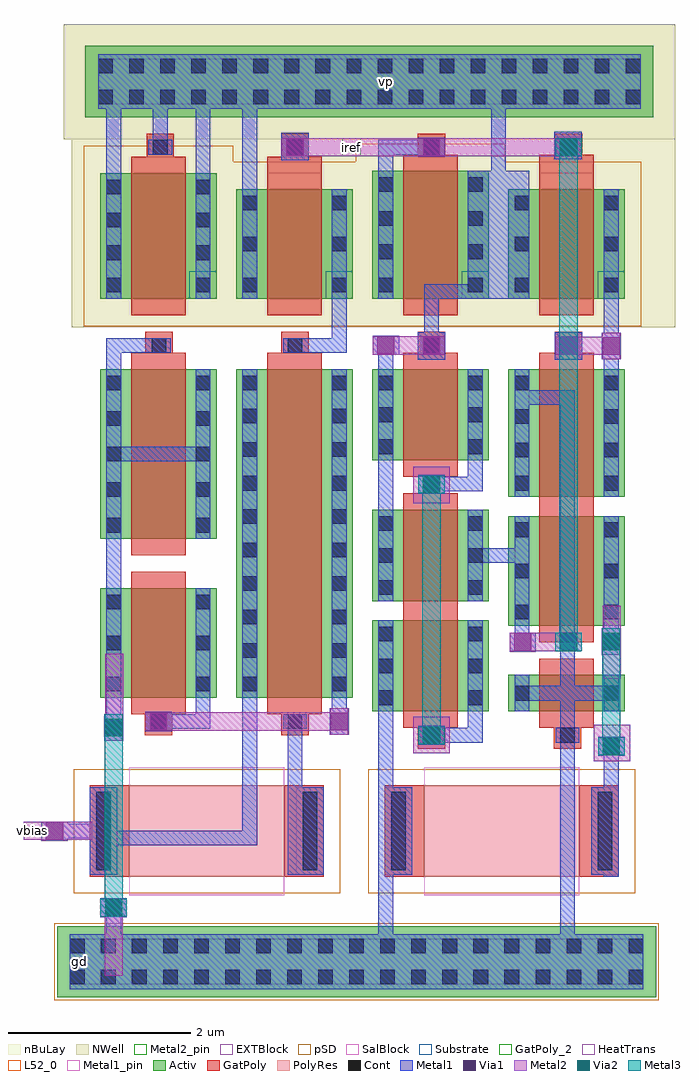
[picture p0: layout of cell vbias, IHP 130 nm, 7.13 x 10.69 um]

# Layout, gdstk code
from math import pi, radians
import gdstk
lib = gdstk.Library(unit=1e-6, precision=1e-09)
def R(c, l, rs):  # rectangles x0, y0, x1, y1
    for r in rs: c.add(gdstk.rectangle(r[:2], r[2:], *l))
def A(c, l, x, y, w, h, nx, ny, dx, dy):  # array of equal rectangles
    R(c, l, [(x+i*dx, y+j*dy, x+i*dx+w, y+j*dy+h) for i in range(nx) for j in range(ny)])
Activ = (1, 0)
GatPoly = (5, 0)
GatPoly_2 = (5, 2)
Cont = (6, 0)
Metal1 = (8, 0)
Metal1_pin = (8, 2)
Metal2 = (10, 0)
Metal2_pin = (10, 2)
pSD = (14, 0)
Via1 = (19, 0)
SalBlock = (28, 0)
Via2 = (29, 0)
Metal3 = (30, 0)
NWell = (31, 0)
nBuLay = (32, 0)
Substrate = (40, 0)
HeatTrans = (51, 0)
L52_0 = (52, 0)
EXTBlock = (111, 0)
PolyRes = (128, 0)

via_19 = lib.new_cell('Via$19')
R(via_19, Metal1, [(-0.145,-0.105,0.145,0.105)])
R(via_19, Metal2, [(-0.145,-0.1,0.145,0.1)])
R(via_19, Via1, [(-0.095,-0.095,0.095,0.095)])

via_18 = lib.new_cell('Via$18')
R(via_18, Metal1, [(-0.145,-0.105,0.145,0.105)])
R(via_18, Metal2, [(-0.145,-0.1,0.145,0.1)])
R(via_18, Via1, [(-0.095,-0.095,0.095,0.095)])

nmos_5 = lib.new_cell('nmos$5')
R(nmos_5, Activ, [(0,0,1.28,3.6), (0,0,0.3,0.3), (0.98,0,1.28,0.3)])
R(nmos_5, GatPoly, [(0.34,-0.18,0.94,3.78)])
R(nmos_5, GatPoly_2, [(0.34,-0.18,0.94,3.78)])
A(nmos_5, Cont, 0.07, 0.07, 0.16, 0.16, 1, 3, 0, 0.365)
A(nmos_5, Cont, 1.05, 0.07, 0.16, 0.16, 1, 3, 0, 0.365)
A(nmos_5, Cont, 0.07, 1.17, 0.16, 0.16, 1, 3, 0, 0.365)
A(nmos_5, Cont, 1.05, 1.17, 0.16, 0.16, 1, 3, 0, 0.365)
A(nmos_5, Cont, 0.07, 2.27, 0.16, 0.16, 1, 3, 0, 0.365)
A(nmos_5, Cont, 1.05, 2.27, 0.16, 0.16, 1, 3, 0, 0.365)
R(nmos_5, Cont, [(0.07,3.37,0.23,3.53), (1.05,3.37,1.21,3.53)])
R(nmos_5, Metal1, [(0.07,0,0.23,3.6), (1.05,0,1.21,3.6)])
R(nmos_5, Metal1_pin, [(0.07,0,0.23,3.6), (1.05,0,1.21,3.6)])
R(nmos_5, HeatTrans, [(0.34,-0.18,0.94,3.78)])
nmos_5.add(gdstk.Label('nmos', (0.64,1.8), layer=63, texttype=0))
nmos_5.add(gdstk.Label('nmos', (0.64,1.8), layer=51, texttype=0))

via_9 = lib.new_cell('Via$9')
R(via_9, Metal1, [(-0.145,-0.105,0.145,0.105)])
R(via_9, Metal2, [(-0.145,-0.1,0.145,0.1)])
R(via_9, Via1, [(-0.095,-0.095,0.095,0.095)])

nmos_3 = lib.new_cell('nmos$3')
R(nmos_3, Activ, [(0,0,1.28,0.4), (0,0,0.3,0.3), (0.98,0,1.28,0.3)])
R(nmos_3, GatPoly, [(0.34,-0.18,0.94,0.58)])
R(nmos_3, GatPoly_2, [(0.34,-0.18,0.94,0.58)])
R(nmos_3, Cont, [(0.07,0.12,0.23,0.28), (1.05,0.12,1.21,0.28)])
R(nmos_3, Metal1, [(0.07,0,0.23,0.4), (1.05,0,1.21,0.4)])
R(nmos_3, Metal1_pin, [(0.07,0,0.23,0.4), (1.05,0,1.21,0.4)])
R(nmos_3, HeatTrans, [(0.34,-0.18,0.94,0.58)])
nmos_3.add(gdstk.Label('nmos', (0.64,0.2), layer=63, texttype=0))
nmos_3.add(gdstk.Label('nmos', (0.64,0.2), layer=51, texttype=0))

via_6 = lib.new_cell('Via$6')
R(via_6, Metal1, [(-0.145,-0.105,0.145,0.105)])
R(via_6, Metal2, [(-0.145,-0.1,0.145,0.1)])
R(via_6, Via1, [(-0.095,-0.095,0.095,0.095)])

ntap = lib.new_cell('ntap')
R(ntap, Activ, [(-0.09,-0.315,0.69,0.465)])
R(ntap, Cont, [(0.05,-0.175,0.21,-0.015), (0.39,-0.175,0.55,-0.015), (0.05,0.165,0.21,0.325), (0.39,0.165,0.55,0.325)])
R(ntap, Metal1, [(0.05,-0.225,0.55,0.375)])
R(ntap, Metal1_pin, [(0.05,-0.175,0.55,0.325)])
R(ntap, NWell, [(-0.33,-0.555,0.93,0.705)])
R(ntap, nBuLay, [(-0.33,-0.555,0.93,0.705)])

pmos = lib.new_cell('pmos')
R(pmos, Activ, [(0,0,1.28,1.2), (0,0,0.3,0.3), (0.98,0,1.28,0.3)])
R(pmos, GatPoly, [(0.34,-0.18,0.94,1.38), (0.34,-0.18,0.94,1.38)])
A(pmos, Cont, 0.07, 0.07, 0.16, 0.16, 1, 3, 0, 0.45)
A(pmos, Cont, 1.05, 0.07, 0.16, 0.16, 1, 3, 0, 0.45)
R(pmos, Metal1, [(0.07,0,0.23,1.2), (0.07,0,0.23,1.2), (1.05,0,1.21,1.2), (1.05,0,1.21,1.2)])
R(pmos, pSD, [(-0.18,-0.3,1.46,1.5)])
R(pmos, NWell, [(-0.31,-0.31,1.59,1.51)])
R(pmos, Substrate, [(0.98,0,1.28,0.3)])
R(pmos, HeatTrans, [(0.34,-0.18,0.94,1.38)])
pmos.add(gdstk.Label('pmos', (0.64,0.6), layer=63, texttype=0))
pmos.add(gdstk.Label('pmos', (0.64,0.6), layer=51, texttype=0))

via_13 = lib.new_cell('Via$13')
R(via_13, Metal1, [(-0.145,-0.105,0.145,0.105)])
R(via_13, Metal2, [(-0.145,-0.1,0.145,0.1)])
R(via_13, Via1, [(-0.095,-0.095,0.095,0.095)])

pmos_1 = lib.new_cell('pmos$1')
R(pmos_1, Activ, [(0,0,1.28,1.4), (0,0,0.3,0.3), (0.98,0,1.28,0.3)])
R(pmos_1, GatPoly, [(0.34,-0.18,0.94,1.58), (0.34,-0.18,0.94,1.58)])
A(pmos_1, Cont, 0.07, 0.07, 0.16, 0.16, 1, 3, 0, 0.365)
A(pmos_1, Cont, 1.05, 0.07, 0.16, 0.16, 1, 3, 0, 0.365)
R(pmos_1, Cont, [(0.07,1.17,0.23,1.33), (1.05,1.17,1.21,1.33)])
R(pmos_1, Metal1, [(0.07,0,0.23,1.4), (0.07,0,0.23,1.4), (1.05,0,1.21,1.4), (1.05,0,1.21,1.4)])
R(pmos_1, pSD, [(-0.18,-0.3,1.46,1.7)])
R(pmos_1, NWell, [(-0.31,-0.31,1.59,1.71)])
R(pmos_1, Substrate, [(0.98,0,1.28,0.3)])
R(pmos_1, HeatTrans, [(0.34,-0.18,0.94,1.58)])
pmos_1.add(gdstk.Label('pmos', (0.64,0.7), layer=63, texttype=0))
pmos_1.add(gdstk.Label('pmos', (0.64,0.7), layer=51, texttype=0))

via_8 = lib.new_cell('Via$8')
R(via_8, Metal1, [(-0.145,-0.105,0.145,0.105)])
R(via_8, Metal2, [(-0.145,-0.1,0.145,0.1)])
R(via_8, Via1, [(-0.095,-0.095,0.095,0.095)])

via = lib.new_cell('Via')
R(via, Metal1, [(-0.145,-0.105,0.145,0.105)])
R(via, Metal2, [(-0.145,-0.1,0.145,0.1)])
R(via, Via1, [(-0.095,-0.095,0.095,0.095)])

rppd_1 = lib.new_cell('rppd$1')
R(rppd_1, GatPoly, [(0,-0.43,1,-0.2), (0,-0.2,1,0), (0,1.7,1,1.9), (0,1.9,1,2.13)])
R(rppd_1, Cont, [(0.07,-0.36,0.93,-0.2), (0.07,1.9,0.93,2.06)])
R(rppd_1, Metal1, [(0.02,-0.43,0.98,-0.13), (0.02,1.83,0.98,2.13)])
R(rppd_1, Metal1_pin, [(0.02,-0.43,0.98,-0.13), (0.02,1.83,0.98,2.13)])
R(rppd_1, pSD, [(-0.18,-0.61,1.18,0), (-0.18,0,1.18,1.7), (-0.18,1.7,1.18,2.31)])
R(rppd_1, SalBlock, [(-0.2,0,1.2,1.7)])
R(rppd_1, L52_0, [(0,0,1,1.7)])
R(rppd_1, EXTBlock, [(-0.18,-0.61,1.18,0), (-0.2,0,1.2,1.7), (-0.18,1.7,1.18,2.31)])
R(rppd_1, PolyRes, [(0,0,1,1.7)])
rppd_1.add(gdstk.Label('rppd r=509.364', (0.5,0.85), layer=63, texttype=0))
rppd_1.add(gdstk.Label('rppd', (0.5,0.85), layer=52, texttype=0))

via_3 = lib.new_cell('Via$3')
R(via_3, Metal1, [(-0.145,-0.105,0.145,0.105)])
R(via_3, Metal2, [(-0.145,-0.1,0.145,0.1)])
R(via_3, Via1, [(-0.095,-0.095,0.095,0.095)])

via_1 = lib.new_cell('Via$1')
R(via_1, GatPoly, [(-0.15,-0.15,0.15,0.15)])
R(via_1, Cont, [(-0.08,-0.08,0.08,0.08)])
R(via_1, Metal1, [(-0.13,-0.08,0.13,0.08)])

via_2 = lib.new_cell('Via$2')
R(via_2, Metal2, [(-0.145,-0.1,0.145,0.1)])
R(via_2, Via2, [(-0.095,-0.095,0.095,0.095)])
R(via_2, Metal3, [(-0.145,-0.1,0.145,0.1)])

nmos_1 = lib.new_cell('nmos$1')
R(nmos_1, Activ, [(0,0,1.28,1), (0,0,0.3,0.3), (0.98,0,1.28,0.3)])
R(nmos_1, GatPoly, [(0.34,-0.18,0.94,1.18)])
R(nmos_1, GatPoly_2, [(0.34,-0.18,0.94,1.18)])
A(nmos_1, Cont, 0.07, 0.07, 0.16, 0.16, 1, 3, 0, 0.35)
A(nmos_1, Cont, 1.05, 0.07, 0.16, 0.16, 1, 3, 0, 0.35)
R(nmos_1, Metal1, [(0.07,0,0.23,1), (1.05,0,1.21,1)])
R(nmos_1, Metal1_pin, [(0.07,0,0.23,1), (1.05,0,1.21,1)])
R(nmos_1, HeatTrans, [(0.34,-0.18,0.94,1.18)])
nmos_1.add(gdstk.Label('nmos', (0.64,0.5), layer=63, texttype=0))
nmos_1.add(gdstk.Label('nmos', (0.64,0.5), layer=51, texttype=0))

ptap = lib.new_cell('ptap')
R(ptap, Activ, [(-0.425,-1.215,0.355,-0.435)])
R(ptap, Cont, [(-0.285,-1.075,-0.125,-0.915), (0.055,-1.075,0.215,-0.915), (-0.285,-0.735,-0.125,-0.575), (0.055,-0.735,0.215,-0.575)])
R(ptap, Metal1, [(-0.285,-1.125,0.215,-0.525)])
R(ptap, Metal1_pin, [(-0.285,-1.075,0.215,-0.575)])
R(ptap, pSD, [(-0.455,-1.245,0.385,-0.405)])

nmos_2 = lib.new_cell('nmos$2')
R(nmos_2, Activ, [(0,0,1.28,1.4), (0,0,0.3,0.3), (0.98,0,1.28,0.3)])
R(nmos_2, GatPoly, [(0.34,-0.18,0.94,1.58)])
R(nmos_2, GatPoly_2, [(0.34,-0.18,0.94,1.58)])
A(nmos_2, Cont, 0.07, 0.07, 0.16, 0.16, 1, 3, 0, 0.365)
A(nmos_2, Cont, 1.05, 0.07, 0.16, 0.16, 1, 3, 0, 0.365)
R(nmos_2, Cont, [(0.07,1.17,0.23,1.33), (1.05,1.17,1.21,1.33)])
R(nmos_2, Metal1, [(0.07,0,0.23,1.4), (1.05,0,1.21,1.4)])
R(nmos_2, Metal1_pin, [(0.07,0,0.23,1.4), (1.05,0,1.21,1.4)])
R(nmos_2, HeatTrans, [(0.34,-0.18,0.94,1.58)])
nmos_2.add(gdstk.Label('nmos', (0.64,0.7), layer=63, texttype=0))
nmos_2.add(gdstk.Label('nmos', (0.64,0.7), layer=51, texttype=0))

via_5 = lib.new_cell('Via$5')
R(via_5, Metal2, [(-0.145,-0.1,0.145,0.1)])
R(via_5, Via2, [(-0.095,-0.095,0.095,0.095)])
R(via_5, Metal3, [(-0.145,-0.1,0.145,0.1)])

via_7 = lib.new_cell('Via$7')
R(via_7, Metal1, [(-0.145,-0.105,0.145,0.105)])
R(via_7, Metal2, [(-0.145,-0.1,0.145,0.1)])
R(via_7, Via1, [(-0.095,-0.095,0.095,0.095)])

via_10 = lib.new_cell('Via$10')
R(via_10, Metal1, [(-0.145,-0.105,0.145,0.105)])
R(via_10, Metal2, [(-0.145,-0.1,0.145,0.1)])
R(via_10, Via1, [(-0.095,-0.095,0.095,0.095)])

via_4 = lib.new_cell('Via$4')
R(via_4, Metal1, [(-0.145,-0.105,0.145,0.105)])
R(via_4, Metal2, [(-0.145,-0.1,0.145,0.1)])
R(via_4, Via1, [(-0.095,-0.095,0.095,0.095)])

nmos = lib.new_cell('nmos')
R(nmos, Activ, [(0,0,1.28,1.2), (0,0,0.3,0.3), (0.98,0,1.28,0.3)])
R(nmos, GatPoly, [(0.34,-0.18,0.94,1.38)])
R(nmos, GatPoly_2, [(0.34,-0.18,0.94,1.38)])
A(nmos, Cont, 0.07, 0.07, 0.16, 0.16, 1, 3, 0, 0.45)
A(nmos, Cont, 1.05, 0.07, 0.16, 0.16, 1, 3, 0, 0.45)
R(nmos, Metal1, [(0.07,0,0.23,1.2), (1.05,0,1.21,1.2)])
R(nmos, Metal1_pin, [(0.07,0,0.23,1.2), (1.05,0,1.21,1.2)])
R(nmos, HeatTrans, [(0.34,-0.18,0.94,1.38)])
nmos.add(gdstk.Label('nmos', (0.64,0.6), layer=63, texttype=0))
nmos.add(gdstk.Label('nmos', (0.64,0.6), layer=51, texttype=0))

curr_source = lib.new_cell('curr_source')
R(curr_source, GatPoly, [(3.695,6.615,4.295,6.815)])
R(curr_source, Metal1, [(1.935,-2.325,2.095,-1.725), (2.365,4.57,2.665,4.87), (3.865,4.57,4.165,4.87), (2.915,5.235,3.585,6.635), (3.86,6.765,4.16,7.065)])
R(curr_source, Metal1_pin, [(1.955,-2.125,2.155,-1.925), (1.925,7.545,2.055,7.675)])
R(curr_source, Metal2, [(4.29,0.17,4.69,0.57), (2.315,0.255,2.715,0.655), (4.39,1.075,4.59,1.875), (2.315,2.995,2.715,3.395)])
R(curr_source, Metal2_pin, [(1.54,6.795,1.74,6.995)])
R(curr_source, NWell, [(1.555,4.925,5.185,8.245)])
curr_source.add(gdstk.FlexPath([(2.515,0.455),(2.515,0.455)], 0.16, ends="flush", simple_path=True, layer=8, datatype=0))  # Metal1
curr_source.add(gdstk.FlexPath([(4.485,4.72),(4.485,4.72)], 0.16, ends="flush", simple_path=True, layer=8, datatype=0))  # Metal1
curr_source.add(gdstk.FlexPath([(2.515,4.725),(2.515,4.725)], 0.16, ends="flush", simple_path=True, layer=8, datatype=0))  # Metal1
curr_source.add(gdstk.FlexPath([(4.015,6.895),(4.015,6.895)], 0.16, ends="flush", simple_path=True, layer=8, datatype=0))  # Metal1
curr_source.add(gdstk.FlexPath([(2.995,0.715),(2.995,0.375)], 0.16, ends="flush", simple_path=True, layer=8, datatype=0))  # Metal1
curr_source.add(gdstk.FlexPath([(2.645,0.455),(3.075,0.455)], 0.16, ends="flush", simple_path=True, layer=8, datatype=0))  # Metal1
curr_source.add(gdstk.FlexPath([(2.015,4.465),(2.015,4.62)], 0.16, ends="flush", simple_path=True, layer=8, datatype=0))  # Metal1
curr_source.add(gdstk.FlexPath([(4.005,-0.815),(4.005,-1.775)], 0.16, ends="flush", simple_path=True, layer=8, datatype=0))  # Metal1
curr_source.add(gdstk.FlexPath([(2.015,2.925),(2.015,3.465)], 0.16, ends="flush", simple_path=True, layer=8, datatype=0))  # Metal1
curr_source.add(gdstk.FlexPath([(3.25,6.635),(3.25,7.315)], 0.16, ends="flush", simple_path=True, layer=8, datatype=0))  # Metal1
curr_source.add(gdstk.FlexPath([(2.515,3.205),(3.075,3.205)], 0.16, ends="flush", simple_path=True, layer=8, datatype=0))  # Metal1
curr_source.add(gdstk.FlexPath([(2.995,3.465),(2.995,3.285)], 0.16, ends="flush", simple_path=True, layer=8, datatype=0))  # Metal1
curr_source.add(gdstk.FlexPath([(3.995,0.915),(4.405,0.915)], 0.16, ends="flush", simple_path=True, layer=8, datatype=0))  # Metal1
curr_source.add(gdstk.FlexPath([(3.995,0.915),(3.585,0.915),(3.585,0.915)], 0.16, ends="flush", simple_path=True, layer=8, datatype=0))  # Metal1
curr_source.add(gdstk.FlexPath([(4.485,0.335),(4.485,-1.095)], 0.16, ends="flush", simple_path=True, layer=8, datatype=0))  # Metal1
curr_source.add(gdstk.FlexPath([(3.505,1.655),(3.505,1.575)], 0.16, ends="flush", simple_path=True, layer=8, datatype=0))  # Metal1
curr_source.add(gdstk.FlexPath([(2.915,5.315),(2.435,5.315)], 0.16, ends="flush", simple_path=True, layer=8, datatype=0))  # Metal1
curr_source.add(gdstk.FlexPath([(2.995,3.34),(2.995,3.125)], 0.16, ends="flush", simple_path=True, layer=8, datatype=0))  # Metal1
curr_source.add(gdstk.FlexPath([(2.015,0.715),(2.015,-1.725),(2.015,-1.725)], 0.16, ends="flush", simple_path=True, layer=8, datatype=0))  # Metal1
curr_source.add(gdstk.FlexPath([(3.575,4.155),(4.005,4.155),(4.005,-0.965)], 0.16, ends="flush", simple_path=True, layer=8, datatype=0))  # Metal1
curr_source.add(gdstk.FlexPath([(4.485,1.655),(4.485,1.48)], 0.16, ends="flush", simple_path=True, layer=8, datatype=0))  # Metal1
curr_source.add(gdstk.FlexPath([(2.515,4.805),(2.515,5.2)], 0.16, ends="flush", simple_path=True, layer=8, datatype=0))  # Metal1
curr_source.add(gdstk.FlexPath([(3.075,2.425),(3.425,2.425)], 0.16, ends="flush", simple_path=True, layer=8, datatype=0))  # Metal1
curr_source.add(gdstk.FlexPath([(4.485,4.49),(4.485,4.465)], 0.16, ends="flush", simple_path=True, layer=8, datatype=0))  # Metal1
curr_source.add(gdstk.FlexPath([(4.485,5.235),(4.485,4.48)], 0.16, ends="flush", simple_path=True, layer=8, datatype=0))  # Metal1
curr_source.add(gdstk.FlexPath([(2.515,5.15),(2.515,5.395)], 0.16, ends="flush", simple_path=True, layer=8, datatype=0))  # Metal1
curr_source.add(gdstk.FlexPath([(2.365,6.895),(2.515,6.895)], 0.16, ends="flush", simple_path=True, layer=8, datatype=0))  # Metal1
curr_source.add(gdstk.FlexPath([(2.015,6.635),(2.015,6.885),(2.015,6.89),(2.015,6.895),(2.385,6.895),(2.385,6.895),(2.385,6.895)], 0.16, ends="flush", simple_path=True, layer=8, datatype=0))  # Metal1
curr_source.add(gdstk.FlexPath([(4.485,0.335),(4.485,0.335)], 0.2, ends="flush", simple_path=True, layer=10, datatype=0))  # Metal2
curr_source.add(gdstk.FlexPath([(2.515,0.455),(2.515,0.455)], 0.2, ends="flush", simple_path=True, layer=10, datatype=0))  # Metal2
curr_source.add(gdstk.FlexPath([(4.485,1.48),(4.485,1.48)], 0.2, ends="flush", simple_path=True, layer=10, datatype=0))  # Metal2
curr_source.add(gdstk.FlexPath([(2.515,3.205),(2.515,3.205)], 0.2, ends="flush", simple_path=True, layer=10, datatype=0))  # Metal2
curr_source.add(gdstk.FlexPath([(4.015,1.475),(3.65,1.475)], 0.2, ends="flush", simple_path=True, layer=10, datatype=0))  # Metal2
curr_source.add(gdstk.FlexPath([(2.515,6.895),(1.54,6.895)], 0.2, ends="flush", simple_path=True, layer=10, datatype=0))  # Metal2
curr_source.add(gdstk.FlexPath([(2.515,6.895),(4.015,6.895)], 0.2, ends="flush", simple_path=True, layer=10, datatype=0))  # Metal2
curr_source.add(gdstk.FlexPath([(2.515,4.725),(1.87,4.725)], 0.2, ends="flush", simple_path=True, layer=10, datatype=0))  # Metal2
curr_source.add(gdstk.FlexPath([(4.015,4.72),(4.485,4.72)], 0.2, ends="flush", simple_path=True, layer=10, datatype=0))  # Metal2
curr_source.add(gdstk.FlexPath([(3.695,1.475),(3.515,1.475)], 0.16, ends="flush", simple_path=True, layer=10, datatype=0))  # Metal2
curr_source.add(gdstk.FlexPath([(4.015,6.895),(4.015,6.895)], 0.16, ends="flush", simple_path=True, layer=10, datatype=0))  # Metal2
curr_source.add(gdstk.FlexPath([(4.485,1.48),(4.485,0.335)], 0.2, ends="flush", simple_path=True, layer=30, datatype=0))  # Metal3
curr_source.add(gdstk.FlexPath([(2.515,2.96),(2.515,3.18)], 0.2, ends="flush", simple_path=True, layer=30, datatype=0))  # Metal3
curr_source.add(gdstk.FlexPath([(4.015,1.58),(4.015,1.475)], 0.2, ends="flush", simple_path=True, layer=30, datatype=0))  # Metal3
curr_source.add(gdstk.FlexPath([(2.515,0.455),(2.515,2.99)], 0.2, ends="flush", simple_path=True, layer=30, datatype=0))  # Metal3
curr_source.add(gdstk.FlexPath([(2.515,3.14),(2.515,3.205)], 0.2, ends="flush", simple_path=True, layer=30, datatype=0))  # Metal3
curr_source.add(gdstk.FlexPath([(4.015,6.895),(4.015,1.58)], 0.2, ends="flush", simple_path=True, layer=30, datatype=0))  # Metal3
curr_source.add(gdstk.Reference(via_9, (4.015,4.72)))
curr_source.add(gdstk.Reference(nmos_3, (3.355,0.715)))
curr_source.add(gdstk.Reference(via_6, (2.015,4.725)))
curr_source.add(gdstk.Reference(ntap, (1.875,7.54)))
curr_source.add(gdstk.Reference(ntap, (2.215,7.54)))
curr_source.add(gdstk.Reference(ntap, (2.555,7.54)))
curr_source.add(gdstk.Reference(ntap, (2.895,7.54)))
curr_source.add(gdstk.Reference(ntap, (3.235,7.54)))
curr_source.add(gdstk.Reference(ntap, (3.575,7.54)))
curr_source.add(gdstk.Reference(ntap, (3.915,7.54)))
curr_source.add(gdstk.Reference(ntap, (4.255,7.54)))
curr_source.add(gdstk.Reference(pmos, (3.355,5.235)))
curr_source.add(gdstk.Reference(via_13, (4.485,1.48), rotation=3*pi/2))
curr_source.add(gdstk.Reference(pmos_1, (1.865,5.235)))
curr_source.add(gdstk.Reference(via_8, (2.515,3.205)))
curr_source.add(gdstk.Reference(via, (2.515,6.895)))
curr_source.add(gdstk.Reference(rppd_1, (2.435,-0.095), rotation=3*pi/2))
curr_source.add(gdstk.Reference(via_13, (4.485,0.335)))
curr_source.add(gdstk.Reference(via_3, (4.015,6.895)))
curr_source.add(gdstk.Reference(via_1, (2.515,0.455)))
curr_source.add(gdstk.Reference(via_1, (4.005,0.455)))
curr_source.add(gdstk.Reference(via_1, (2.515,4.725)))
curr_source.add(gdstk.Reference(via_1, (4.015,4.725)))
curr_source.add(gdstk.Reference(via_1, (2.515,6.895)))
curr_source.add(gdstk.Reference(via_1, (4.015,6.895)))
curr_source.add(gdstk.Reference(via_2, (4.015,1.475)))
curr_source.add(gdstk.Reference(nmos_1, (1.865,0.715)))
curr_source.add(gdstk.Reference(nmos_1, (1.865,1.925)))
curr_source.add(gdstk.Reference(nmos_1, (1.865,3.465)))
curr_source.add(gdstk.Reference(ptap, (2.24,-1.2)))
curr_source.add(gdstk.Reference(ptap, (2.58,-1.2)))
curr_source.add(gdstk.Reference(ptap, (2.92,-1.2)))
curr_source.add(gdstk.Reference(ptap, (3.26,-1.2)))
curr_source.add(gdstk.Reference(ptap, (3.6,-1.2)))
curr_source.add(gdstk.Reference(ptap, (3.94,-1.2)))
curr_source.add(gdstk.Reference(ptap, (4.28,-1.2)))
curr_source.add(gdstk.Reference(ptap, (4.62,-1.2)))
curr_source.add(gdstk.Reference(nmos_2, (3.355,3.065)))
curr_source.add(gdstk.Reference(via_5, (4.485,1.48), rotation=3*pi/2))
curr_source.add(gdstk.Reference(via_7, (4.485,4.72), rotation=3*pi/2))
curr_source.add(gdstk.Reference(via_7, (2.515,4.725)))
curr_source.add(gdstk.Reference(via_5, (4.485,0.335)))
curr_source.add(gdstk.Reference(via_5, (2.515,0.455)))
curr_source.add(gdstk.Reference(via_5, (2.515,3.205)))
curr_source.add(gdstk.Reference(via_5, (4.015,6.895)))
curr_source.add(gdstk.Reference(via_10, (2.515,0.455)))
curr_source.add(gdstk.Reference(via_4, (3.515,1.475)))
curr_source.add(gdstk.Reference(nmos, (3.355,1.655)))
curr_source.add(gdstk.Label('gd', (2.055,-2.025), layer=8, texttype=25))
curr_source.add(gdstk.Label('vp', (1.99,7.61), layer=8, texttype=25))
curr_source.add(gdstk.Label('iref', (1.567,6.897), layer=10, texttype=25))

nmos_4 = lib.new_cell('nmos$4')
R(nmos_4, Activ, [(0,0,1.28,1.2), (0,0,0.3,0.3), (0.98,0,1.28,0.3)])
R(nmos_4, GatPoly, [(0.34,-0.18,0.94,1.38)])
R(nmos_4, GatPoly_2, [(0.34,-0.18,0.94,1.38)])
A(nmos_4, Cont, 0.07, 0.07, 0.16, 0.16, 1, 3, 0, 0.45)
A(nmos_4, Cont, 1.05, 0.07, 0.16, 0.16, 1, 3, 0, 0.45)
R(nmos_4, Metal1, [(0.07,0,0.23,1.2), (1.05,0,1.21,1.2)])
R(nmos_4, Metal1_pin, [(0.07,0,0.23,1.2), (1.05,0,1.21,1.2)])
R(nmos_4, HeatTrans, [(0.34,-0.18,0.94,1.38)])
nmos_4.add(gdstk.Label('nmos', (0.64,0.6), layer=63, texttype=0))
nmos_4.add(gdstk.Label('nmos', (0.64,0.6), layer=51, texttype=0))

rppd_2 = lib.new_cell('rppd$2')
R(rppd_2, GatPoly, [(0,-0.43,1,-0.2), (0,-0.2,1,0), (0,1.7,1,1.9), (0,1.9,1,2.13)])
R(rppd_2, Cont, [(0.07,-0.36,0.93,-0.2), (0.07,1.9,0.93,2.06)])
R(rppd_2, Metal1, [(0.02,-0.43,0.98,-0.13), (0.02,1.83,0.98,2.13)])
R(rppd_2, Metal1_pin, [(0.02,-0.43,0.98,-0.13), (0.02,1.83,0.98,2.13)])
R(rppd_2, pSD, [(-0.18,-0.61,1.18,0), (-0.18,0,1.18,1.7), (-0.18,1.7,1.18,2.31)])
R(rppd_2, SalBlock, [(-0.2,0,1.2,1.7)])
R(rppd_2, L52_0, [(0,0,1,1.7)])
R(rppd_2, EXTBlock, [(-0.18,-0.61,1.18,0), (-0.2,0,1.2,1.7), (-0.18,1.7,1.18,2.31)])
R(rppd_2, PolyRes, [(0,0,1,1.7)])
rppd_2.add(gdstk.Label('rppd r=509.364', (0.5,0.85), layer=63, texttype=0))
rppd_2.add(gdstk.Label('rppd', (0.5,0.85), layer=52, texttype=0))

ntap_1 = lib.new_cell('ntap$1')
R(ntap_1, Activ, [(-0.09,-0.315,0.69,0.465)])
R(ntap_1, Cont, [(0.05,-0.175,0.21,-0.015), (0.39,-0.175,0.55,-0.015), (0.05,0.165,0.21,0.325), (0.39,0.165,0.55,0.325)])
R(ntap_1, Metal1, [(0.05,-0.225,0.55,0.375)])
R(ntap_1, Metal1_pin, [(0.05,-0.175,0.55,0.325)])
R(ntap_1, NWell, [(-0.33,-0.555,0.93,0.705)])
R(ntap_1, nBuLay, [(-0.33,-0.555,0.93,0.705)])

pmos_2 = lib.new_cell('pmos$2')
R(pmos_2, Activ, [(0,0,1.28,1.2), (0,0,0.3,0.3), (0.98,0,1.28,0.3)])
R(pmos_2, GatPoly, [(0.34,-0.18,0.94,1.38), (0.34,-0.18,0.94,1.38)])
A(pmos_2, Cont, 0.07, 0.07, 0.16, 0.16, 1, 3, 0, 0.45)
A(pmos_2, Cont, 1.05, 0.07, 0.16, 0.16, 1, 3, 0, 0.45)
R(pmos_2, Metal1, [(0.07,0,0.23,1.2), (0.07,0,0.23,1.2), (1.05,0,1.21,1.2), (1.05,0,1.21,1.2)])
R(pmos_2, pSD, [(-0.18,-0.3,1.46,1.5)])
R(pmos_2, NWell, [(-0.31,-0.31,1.59,1.51)])
R(pmos_2, Substrate, [(0.98,0,1.28,0.3)])
R(pmos_2, HeatTrans, [(0.34,-0.18,0.94,1.38)])
pmos_2.add(gdstk.Label('pmos', (0.64,0.6), layer=63, texttype=0))
pmos_2.add(gdstk.Label('pmos', (0.64,0.6), layer=51, texttype=0))

pmos_3 = lib.new_cell('pmos$3')
R(pmos_3, Activ, [(0,0,1.28,1.375), (0,0,0.3,0.3), (0.98,0,1.28,0.3)])
R(pmos_3, GatPoly, [(0.34,-0.18,0.94,1.555), (0.34,-0.18,0.94,1.555)])
A(pmos_3, Cont, 0.07, 0.425, 0.16, 0.16, 1, 3, 0, 0.36)
A(pmos_3, Cont, 1.05, 0.425, 0.16, 0.16, 1, 3, 0, 0.36)
R(pmos_3, Cont, [(0.07,0.07,0.23,0.23), (1.05,0.07,1.21,0.23)])
R(pmos_3, Metal1, [(0.07,0,0.23,1.375), (0.07,0,0.23,1.375), (1.05,0,1.21,1.375), (1.05,0,1.21,1.375)])
R(pmos_3, pSD, [(-0.18,-0.3,1.46,1.675)])
R(pmos_3, NWell, [(-0.31,-0.31,1.59,1.685)])
R(pmos_3, Substrate, [(0.98,0,1.28,0.3)])
R(pmos_3, HeatTrans, [(0.34,-0.18,0.94,1.555)])
pmos_3.add(gdstk.Label('pmos', (0.64,0.688), layer=63, texttype=0))
pmos_3.add(gdstk.Label('pmos', (0.64,0.688), layer=51, texttype=0))

ptap_1 = lib.new_cell('ptap$1')
R(ptap_1, Activ, [(-0.425,-1.215,0.355,-0.435)])
R(ptap_1, Cont, [(-0.285,-1.075,-0.125,-0.915), (0.055,-1.075,0.215,-0.915), (-0.285,-0.735,-0.125,-0.575), (0.055,-0.735,0.215,-0.575)])
R(ptap_1, Metal1, [(-0.285,-1.125,0.215,-0.525)])
R(ptap_1, Metal1_pin, [(-0.285,-1.075,0.215,-0.575)])
R(ptap_1, pSD, [(-0.455,-1.245,0.385,-0.405)])

via_15 = lib.new_cell('Via$15')
R(via_15, Metal1, [(-0.145,-0.105,0.145,0.105)])
R(via_15, Metal2, [(-0.145,-0.1,0.145,0.1)])
R(via_15, Via1, [(-0.095,-0.095,0.095,0.095)])

nmos_6 = lib.new_cell('nmos$6')
R(nmos_6, Activ, [(0,0,1.28,1.86), (0,0,0.3,0.3), (0.98,0,1.28,0.3)])
R(nmos_6, GatPoly, [(0.34,-0.18,0.94,2.04)])
R(nmos_6, GatPoly_2, [(0.34,-0.18,0.94,2.04)])
A(nmos_6, Cont, 0.07, 0.07, 0.16, 0.16, 1, 5, 0, 0.39)
A(nmos_6, Cont, 1.05, 0.07, 0.16, 0.16, 1, 5, 0, 0.39)
R(nmos_6, Metal1, [(0.07,0,0.23,1.86), (1.05,0,1.21,1.86)])
R(nmos_6, Metal1_pin, [(0.07,0,0.23,1.86), (1.05,0,1.21,1.86)])
R(nmos_6, HeatTrans, [(0.34,-0.18,0.94,2.04)])
nmos_6.add(gdstk.Label('nmos', (0.64,0.93), layer=63, texttype=0))
nmos_6.add(gdstk.Label('nmos', (0.64,0.93), layer=51, texttype=0))

via_14 = lib.new_cell('Via$14')
R(via_14, Metal1, [(-0.145,-0.105,0.145,0.105)])
R(via_14, Metal2, [(-0.145,-0.1,0.145,0.1)])
R(via_14, Via1, [(-0.095,-0.095,0.095,0.095)])

via_12 = lib.new_cell('Via$12')
R(via_12, Metal1, [(-0.145,-0.105,0.145,0.105)])
R(via_12, Metal2, [(-0.145,-0.1,0.145,0.1)])
R(via_12, Via1, [(-0.095,-0.095,0.095,0.095)])

via_11 = lib.new_cell('Via$11')
R(via_11, GatPoly, [(-0.15,-0.15,0.15,0.15)])
R(via_11, Cont, [(-0.08,-0.08,0.08,0.08)])
R(via_11, Metal1, [(-0.13,-0.08,0.13,0.08)])

via_16 = lib.new_cell('Via$16')
R(via_16, Metal2, [(-0.145,-0.1,0.145,0.1)])
R(via_16, Via2, [(-0.095,-0.095,0.095,0.095)])
R(via_16, Metal3, [(-0.145,-0.1,0.145,0.1)])

vbias = lib.new_cell('vbias')
R(vbias, GatPoly, [(9.015,17.53,9.615,17.705)])
R(vbias, Metal1, [(9.24,9.84,9.635,10.8), (9.17,17.67,9.47,17.97)])
R(vbias, Metal1_pin, [(6.855,8.79,7.055,8.99), (10.225,18.43,10.425,18.63)])
R(vbias, Metal2, [(7.235,8.735,7.435,9.485), (6.35,10.225,7.1,10.425), (7.24,11.51,7.44,12.26)])
R(vbias, Metal2_pin, [(6.35,10.225,6.55,10.425), (9.84,17.71,10.04,17.91)])
R(vbias, NWell, [(6.875,15.84,8.775,19.16), (8.365,15.84,11.155,19.16)])
vbias.add(gdstk.FlexPath([(7.335,11.455),(7.335,11.78),(7.335,11.78)], 0.16, ends="flush", simple_path=True, layer=8, datatype=0))  # Metal1
vbias.add(gdstk.FlexPath([(8.315,11.78),(8.315,11.44)], 0.16, ends="flush", simple_path=True, layer=8, datatype=0))  # Metal1
vbias.add(gdstk.FlexPath([(7.825,11.52),(8.395,11.52)], 0.16, ends="flush", simple_path=True, layer=8, datatype=0))  # Metal1
vbias.add(gdstk.FlexPath([(7.335,9.48),(7.335,9.19)], 0.16, ends="flush", simple_path=True, layer=8, datatype=0))  # Metal1
vbias.add(gdstk.FlexPath([(7.845,17.81),(7.845,18.23)], 0.16, ends="flush", simple_path=True, layer=8, datatype=0))  # Metal1
vbias.add(gdstk.FlexPath([(7.335,17.525),(7.335,18.23)], 0.16, ends="flush", simple_path=True, layer=8, datatype=0))  # Metal1
vbias.add(gdstk.FlexPath([(8.315,17.525),(8.315,18.23),(8.315,18.23)], 0.16, ends="flush", simple_path=True, layer=8, datatype=0))  # Metal1
vbias.add(gdstk.FlexPath([(8.235,14.45),(7.415,14.45)], 0.16, ends="flush", simple_path=True, layer=8, datatype=0))  # Metal1
vbias.add(gdstk.FlexPath([(7.075,10.32),(6.685,10.32)], 0.16, ends="flush", simple_path=True, layer=8, datatype=0))  # Metal1
vbias.add(gdstk.FlexPath([(7.83,15.64),(7.255,15.64)], 0.16, ends="flush", simple_path=True, layer=8, datatype=0))  # Metal1
vbias.add(gdstk.FlexPath([(7.335,15.38),(7.335,15.72)], 0.16, ends="flush", simple_path=True, layer=8, datatype=0))  # Metal1
vbias.add(gdstk.FlexPath([(9.32,11.52),(9.32,9.84)], 0.16, ends="flush", simple_path=True, layer=8, datatype=0))  # Metal1
vbias.add(gdstk.FlexPath([(7.825,11.52),(7.825,11.52)], 0.16, ends="flush", simple_path=True, layer=8, datatype=0))  # Metal1
vbias.add(gdstk.FlexPath([(9.32,17.81),(9.32,17.81)], 0.16, ends="flush", simple_path=True, layer=8, datatype=0))  # Metal1
vbias.add(gdstk.FlexPath([(9.45,15.64),(9.885,15.64)], 0.16, ends="flush", simple_path=True, layer=8, datatype=0))  # Metal1
vbias.add(gdstk.FlexPath([(8.825,11.78),(8.825,10.245),(7.375,10.245)], 0.16, ends="flush", simple_path=True, layer=8, datatype=0))  # Metal1
vbias.add(gdstk.FlexPath([(9.805,16.15),(9.805,15.56)], 0.16, ends="flush", simple_path=True, layer=8, datatype=0))  # Metal1
vbias.add(gdstk.FlexPath([(7.335,13.52),(7.335,12.98)], 0.16, ends="flush", simple_path=True, layer=8, datatype=0))  # Metal1
vbias.add(gdstk.FlexPath([(8.825,17.35),(8.825,18.23)], 0.16, ends="flush", simple_path=True, layer=8, datatype=0))  # Metal1
vbias.add(gdstk.FlexPath([(9.805,11.78),(9.805,11.615)], 0.16, ends="flush", simple_path=True, layer=8, datatype=0))  # Metal1
vbias.add(gdstk.FlexPath([(7.335,9.48),(7.335,9.48)], 0.2, ends="flush", simple_path=True, layer=10, datatype=0))  # Metal2
vbias.add(gdstk.FlexPath([(7.335,11.455),(7.335,11.455)], 0.2, ends="flush", simple_path=True, layer=10, datatype=0))  # Metal2
vbias.add(gdstk.FlexPath([(7.905,11.52),(7.825,11.52)], 0.2, ends="flush", simple_path=True, layer=10, datatype=0))  # Metal2
vbias.add(gdstk.FlexPath([(7.885,11.52),(9.805,11.52)], 0.2, ends="flush", simple_path=True, layer=10, datatype=0))  # Metal2
vbias.add(gdstk.FlexPath([(9.94,17.81),(9.32,17.81)], 0.2, ends="flush", simple_path=True, layer=10, datatype=0))  # Metal2
vbias.add(gdstk.FlexPath([(7.335,11.475),(7.335,9.48)], 0.2, ends="flush", simple_path=True, layer=30, datatype=0))  # Metal3
vbias.add(gdstk.Reference(via_19, (6.685,10.32)))
vbias.add(gdstk.Reference(via_18, (7.335,9.48)))
vbias.add(gdstk.Reference(nmos_5, (9.955,15.38), rotation=pi))
vbias.add(gdstk.Reference(curr_source, (8.3,10.915)))
vbias.add(gdstk.Reference(nmos_4, (7.185,11.78)))
vbias.add(gdstk.Reference(rppd_2, (7.505,10.82), rotation=3*pi/2))
vbias.add(gdstk.Reference(ntap_1, (7.115,18.455)))
vbias.add(gdstk.Reference(ntap_1, (7.455,18.455)))
vbias.add(gdstk.Reference(ntap_1, (7.795,18.455)))
vbias.add(gdstk.Reference(ntap_1, (8.135,18.455)))
vbias.add(gdstk.Reference(ntap_1, (8.475,18.455)))
vbias.add(gdstk.Reference(ntap_1, (8.815,18.455)))
vbias.add(gdstk.Reference(ntap_1, (9.155,18.455)))
vbias.add(gdstk.Reference(ntap_1, (9.495,18.455)))
vbias.add(gdstk.Reference(ntap_1, (9.835,18.455)))
vbias.add(gdstk.Reference(pmos_2, (8.675,16.15)))
vbias.add(gdstk.Reference(pmos_3, (7.185,16.15)))
vbias.add(gdstk.Reference(ptap_1, (7.14,9.715)))
vbias.add(gdstk.Reference(ptap_1, (7.48,9.715)))
vbias.add(gdstk.Reference(ptap_1, (7.82,9.715)))
vbias.add(gdstk.Reference(ptap_1, (8.16,9.715)))
vbias.add(gdstk.Reference(ptap_1, (8.5,9.715)))
vbias.add(gdstk.Reference(ptap_1, (8.84,9.715)))
vbias.add(gdstk.Reference(ptap_1, (9.18,9.715)))
vbias.add(gdstk.Reference(ptap_1, (9.52,9.715)))
vbias.add(gdstk.Reference(ptap_1, (9.86,9.715)))
vbias.add(gdstk.Reference(ptap_1, (10.2,9.715)))
vbias.add(gdstk.Reference(via_15, (9.805,11.52), rotation=3*pi/2))
vbias.add(gdstk.Reference(nmos_6, (7.185,13.52)))
vbias.add(gdstk.Reference(via_14, (7.825,11.52)))
vbias.add(gdstk.Reference(via_14, (9.32,17.81)))
vbias.add(gdstk.Reference(via_12, (7.335,11.455), rotation=3*pi/2))
vbias.add(gdstk.Reference(via_11, (7.825,11.52)))
vbias.add(gdstk.Reference(via_11, (9.32,11.52)))
vbias.add(gdstk.Reference(via_11, (7.83,15.64)))
vbias.add(gdstk.Reference(via_11, (9.32,15.64)))
vbias.add(gdstk.Reference(via_11, (7.845,17.81)))
vbias.add(gdstk.Reference(via_11, (9.32,17.81)))
vbias.add(gdstk.Reference(via_16, (7.335,11.455), rotation=3*pi/2))
vbias.add(gdstk.Reference(via_16, (7.335,9.48)))
vbias.add(gdstk.Label('gd', (6.955,8.89), layer=8, texttype=25))
vbias.add(gdstk.Label('vp', (10.325,18.53), layer=8, texttype=25))
vbias.add(gdstk.Label('vbias', (6.45,10.325), layer=10, texttype=25))
vbias.add(gdstk.Label('iref', (9.94,17.81), layer=10, texttype=25))

lib.write_gds('vbias.gds')
